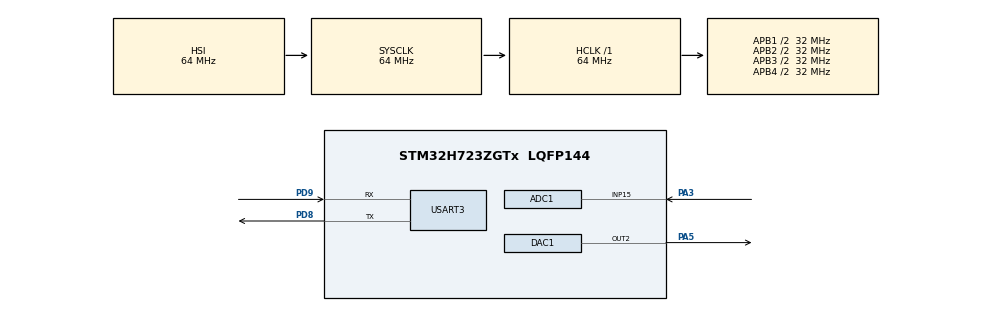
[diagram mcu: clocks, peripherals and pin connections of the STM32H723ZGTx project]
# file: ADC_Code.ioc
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ADC1.Channel-10\#ChannelRegularConversion=ADC_CHANNEL_15
ADC1.ClockPrescaler=ADC_CLOCK_ASYNC_DIV12
ADC1.ContinuousConvMode=ENABLE
ADC1.ConversionDataManagement=ADC_CONVERSIONDATA_DMA_CIRCULAR
ADC1.NbrOfConversionFlag=1
ADC1.OffsetNumber-10\#ChannelRegularConversion=ADC_OFFSET_NONE
ADC1.OffsetSignedSaturation-10\#ChannelRegularConversion=DISABLE
ADC1.Rank-10\#ChannelRegularConversion=1
ADC1.SamplingTime-10\#ChannelRegularConversion=ADC_SAMPLETIME_1CYCLE_5
ADC1.master=1
DAC1.DAC_Channel-DAC_OUT2_ExtAndInt=DAC_CHANNEL_2
Dma.ADC1.0.Direction=DMA_PERIPH_TO_MEMORY
Dma.ADC1.0.EventEnable=DISABLE
Dma.ADC1.0.FIFOMode=DMA_FIFOMODE_DISABLE
Dma.ADC1.0.Instance=DMA1_Stream0
Dma.ADC1.0.MemDataAlignment=DMA_MDATAALIGN_HALFWORD
Dma.ADC1.0.MemInc=DMA_MINC_ENABLE
Dma.ADC1.0.Mode=DMA_CIRCULAR
Dma.ADC1.0.PeriphDataAlignment=DMA_PDATAALIGN_HALFWORD
Dma.ADC1.0.PeriphInc=DMA_PINC_DISABLE
Dma.ADC1.0.Polarity=HAL_DMAMUX_REQ_GEN_RISING
Dma.ADC1.0.Priority=DMA_PRIORITY_LOW
Dma.ADC1.0.RequestNumber=1
Dma.ADC1.0.SignalID=NONE
Dma.ADC1.0.SyncEnable=DISABLE
Dma.ADC1.0.SyncPolarity=HAL_DMAMUX_SYNC_NO_EVENT
Dma.ADC1.0.SyncRequestNumber=1
Dma.ADC1.0.SyncSignalID=NONE
Dma.Request0=ADC1
Mcu.Family=STM32H7
Mcu.Name=STM32H723ZGTx
Mcu.Package=LQFP144
NVIC.DMA1_Stream0_IRQn=true\:0\:0\:false\:false\:true\:false\:true\:true
NVIC.PriorityGroup=NVIC_PRIORITYGROUP_4
NVIC.TIM1_UP_IRQn=true\:15\:0\:false\:false\:true\:false\:true\:true
NVIC.TIM2_IRQn=true\:0\:0\:false\:false\:true\:true\:true\:true
NVIC.TIM3_IRQn=true\:0\:0\:false\:false\:true\:true\:true\:true
NVIC.TimeBase=TIM1_UP_IRQn
NVIC.TimeBaseIP=TIM1
PA13(JTMS/SWDIO).Mode=Trace_Asynchronous_SW
PA13(JTMS/SWDIO).Signal=DEBUG_JTMS-SWDIO
PA14(JTCK/SWCLK).Mode=Trace_Asynchronous_SW
PA14(JTCK/SWCLK).Signal=DEBUG_JTCK-SWCLK
PA3.Signal=ADCx_INP15
PA5.Signal=COMP_DAC12_group
PB3(JTDO/TRACESWO).Mode=Trace_Asynchronous_SW
PB3(JTDO/TRACESWO).Signal=DEBUG_JTDO-SWO
PD8.Mode=Asynchronous
PD8.Signal=USART3_TX
PD9.Mode=Asynchronous
PD9.Signal=USART3_RX
PH0-OSC_IN.Mode=HSE-External-Oscillator
PH0-OSC_IN.Signal=RCC_OSC_IN
PH1-OSC_OUT.Mode=HSE-External-Oscillator
PH1-OSC_OUT.Signal=RCC_OSC_OUT
ProjectManager.HeapSize=0x200
ProjectManager.StackSize=0x400
ProjectManager.TargetToolchain=STM32CubeIDE
RCC.ADCFreq_Value=38400000
RCC.APB1Freq_Value=32000000
RCC.APB2Freq_Value=32000000
RCC.APB3Freq_Value=32000000
RCC.APB4Freq_Value=32000000
RCC.CortexFreq_Value=64000000
RCC.D1PPRE=RCC_APB3_DIV2
RCC.D2PPRE1=RCC_APB1_DIV2
RCC.D2PPRE2=RCC_APB2_DIV2
RCC.D3PPRE=RCC_APB4_DIV2
RCC.DIVM2=4
RCC.DIVN2=12
RCC.DIVP2=5
RCC.HCLKFreq_Value=64000000
RCC.PLL2FRACN=0
RCC.SYSCLKFreq_VALUE=64000000
RCC.USBCLockSelection=RCC_USBCLKSOURCE_HSI48
RCC.USBFreq_Value=48000000
SH.ADCx_INP15.0=ADC1_INP15,IN15-Single-Ended
SH.COMP_DAC12_group.0=DAC1_OUT2,DAC_OUT2_ExtAndInt
TIM2.Period=1920000
TIM2.Prescaler=1000
TIM3.Period=51200
TIM3.Prescaler=1000
USART3.VirtualMode-Asynchronous=VM_ASYNC
VP_SYS_VS_tim1.Mode=TIM1
VP_TIM2_VS_ClockSourceINT.Mode=Internal
VP_TIM3_VS_ClockSourceINT.Mode=Internal
board=custom

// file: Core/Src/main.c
/* USER CODE BEGIN Header */
/**
  ******************************************************************************
  * @file           : main.c
  * @brief          : Main program body
  ******************************************************************************
  * @attention
  *
  * Copyright (c) 2022 STMicroelectronics.
  * All rights reserved.
  *
  * This software is licensed under terms that can be found in the LICENSE file
  * in the root directory of this software component.
  * If no LICENSE file comes with this software, it is provided AS-IS.
  *
  ******************************************************************************
  */
/* USER CODE END Header */
#include "main.h"

/* USER CODE BEGIN Includes */
#include "string.h"
#include "stdlib.h"
#include "stdio.h"
#include "math.h"
#include "time.h"
#include "inttypes.h"
#include "stdbool.h"
/* USER CODE END Includes */

/* USER CODE BEGIN PD */
#define DMA_BUFF_LEN 100
#define DATA_BUFF_LEN 2000
#define txBUFF_LEN 20
#define SECTIONS 10
#define ALPHA 0.00393
#define T1 21
#define HEAT_TIME 0.8 // NEED TO UPDATE
#define FREQ 64000
#define PI 3.14159
#define MAXADC 65536
#define GAIN 51
#define TESTS 3
/* USER CODE END PD */

ADC_HandleTypeDef hadc1;
DMA_HandleTypeDef hdma_adc1;

DAC_HandleTypeDef hdac1;

TIM_HandleTypeDef htim2;
TIM_HandleTypeDef htim3;

UART_HandleTypeDef huart3;

/* USER CODE BEGIN PV */
volatile uint16_t adc_val[DMA_BUFF_LEN];
double avg[TESTS][DATA_BUFF_LEN];
volatile uint32_t temp1, temp2;
double tim[TESTS][DATA_BUFF_LEN];
volatile int data_index = 0;
volatile uint16_t val_dac = 4095*1/3.3;
char txBuff[txBUFF_LEN];
int testNum = 0;
int run = 1;
int sectSize = DATA_BUFF_LEN / SECTIONS; // number of data points in each section
double linSlopes[TESTS];
double thermCond[TESTS];
double avgThermCond=0;
double heatPower = 0.015*0.015*1/0.05; // I2R
double testingSum;
int done = 0;
/* USER CODE END PV */

void SystemClock_Config(void);
static void MX_GPIO_Init(void);
static void MX_DMA_Init(void);
static void MX_ADC1_Init(void);
static void MX_DAC1_Init(void);
static void MX_USART3_UART_Init(void);
static void MX_TIM3_Init(void);
static void MX_TIM2_Init(void);
/* USER CODE BEGIN PFP */
static void runTest(void);
double findTemp(double resistance);
double slope_linear_region(double logTime[], double temp[], int numPoints, int sectSize);
void splitArray(double* array[], int size, int rows, double* result[rows][size]);
void lin_Regression(double x[], double y[], int n, double* result);
double calcThermCond(double heatPower, double slope);
/* USER CODE END PFP */

int main(void)
{

  /* MCU Configuration--------------------------------------------------------*/

  /* Reset of all peripherals, Initializes the Flash interface and the Systick. */
  HAL_Init();

  /* Configure the system clock */
  SystemClock_Config();

  /* USER CODE BEGIN SysInit */
  srand(time(NULL));
  /* USER CODE END SysInit */

  /* Initialize all configured peripherals */
  MX_GPIO_Init();
  MX_DMA_Init();
  MX_ADC1_Init();
  MX_DAC1_Init();
  MX_USART3_UART_Init();
  MX_TIM3_Init();
  MX_TIM2_Init();
  /* USER CODE BEGIN 2 */
  HAL_DAC_Start(&hdac1,DAC_CHANNEL_2);
  HAL_DAC_SetValue(&hdac1, DAC_CHANNEL_2, DAC_ALIGN_12B_R,  4095*0.3/3.3);
  /* USER CODE END 2 */

  /* Infinite loop */
  /* USER CODE BEGIN WHILE */
  while(1)
  {

	  runTest();
    /* USER CODE END WHILE */

  }
}

void SystemClock_Config(void)
{
  RCC_OscInitTypeDef RCC_OscInitStruct = {0};
  RCC_ClkInitTypeDef RCC_ClkInitStruct = {0};

  /** Supply configuration update enable
  */
  HAL_PWREx_ConfigSupply(PWR_LDO_SUPPLY);
  /** Configure the main internal regulator output voltage
  */
  __HAL_PWR_VOLTAGESCALING_CONFIG(PWR_REGULATOR_VOLTAGE_SCALE3);

  while(!__HAL_PWR_GET_FLAG(PWR_FLAG_VOSRDY)) {}
  /** Macro to configure the PLL clock source
  */
  __HAL_RCC_PLL_PLLSOURCE_CONFIG(RCC_PLLSOURCE_HSI);
  /** Initializes the RCC Oscillators according to the specified parameters
  * in the RCC_OscInitTypeDef structure.
  */
  RCC_OscInitStruct.OscillatorType = RCC_OSCILLATORTYPE_HSI;
  RCC_OscInitStruct.HSIState = RCC_HSI_DIV1;
  RCC_OscInitStruct.HSICalibrationValue = RCC_HSICALIBRATION_DEFAULT;
  RCC_OscInitStruct.PLL.PLLState = RCC_PLL_NONE;
  RCC_OscInitStruct.PLL.PLLSource = RCC_PLLSOURCE_HSI;
  if (HAL_RCC_OscConfig(&RCC_OscInitStruct) != HAL_OK)
  {
    Error_Handler();
  }
  /** Initializes the CPU, AHB and APB buses clocks
  */
  RCC_ClkInitStruct.ClockType = RCC_CLOCKTYPE_HCLK|RCC_CLOCKTYPE_SYSCLK
                              |RCC_CLOCKTYPE_PCLK1|RCC_CLOCKTYPE_PCLK2
                              |RCC_CLOCKTYPE_D3PCLK1|RCC_CLOCKTYPE_D1PCLK1;
  RCC_ClkInitStruct.SYSCLKSource = RCC_SYSCLKSOURCE_HSI;
  RCC_ClkInitStruct.SYSCLKDivider = RCC_SYSCLK_DIV1;
  RCC_ClkInitStruct.AHBCLKDivider = RCC_HCLK_DIV1;
  RCC_ClkInitStruct.APB3CLKDivider = RCC_APB3_DIV2;
  RCC_ClkInitStruct.APB1CLKDivider = RCC_APB1_DIV2;
  RCC_ClkInitStruct.APB2CLKDivider = RCC_APB2_DIV2;
  RCC_ClkInitStruct.APB4CLKDivider = RCC_APB4_DIV2;

  if (HAL_RCC_ClockConfig(&RCC_ClkInitStruct, FLASH_LATENCY_1) != HAL_OK)
  {
    Error_Handler();
  }
}

static void MX_ADC1_Init(void)
{

  ADC_MultiModeTypeDef multimode = {0};
  ADC_ChannelConfTypeDef sConfig = {0};

  /** Common config
  */
  hadc1.Instance = ADC1;
  hadc1.Init.ClockPrescaler = ADC_CLOCK_ASYNC_DIV12;
  hadc1.Init.Resolution = ADC_RESOLUTION_16B;
  hadc1.Init.ScanConvMode = ADC_SCAN_DISABLE;
  hadc1.Init.EOCSelection = ADC_EOC_SINGLE_CONV;
  hadc1.Init.LowPowerAutoWait = DISABLE;
  hadc1.Init.ContinuousConvMode = ENABLE;
  hadc1.Init.NbrOfConversion = 1;
  hadc1.Init.DiscontinuousConvMode = DISABLE;
  hadc1.Init.ExternalTrigConv = ADC_SOFTWARE_START;
  hadc1.Init.ExternalTrigConvEdge = ADC_EXTERNALTRIGCONVEDGE_NONE;
  hadc1.Init.ConversionDataManagement = ADC_CONVERSIONDATA_DMA_CIRCULAR;
  hadc1.Init.Overrun = ADC_OVR_DATA_PRESERVED;
  hadc1.Init.LeftBitShift = ADC_LEFTBITSHIFT_NONE;
  hadc1.Init.OversamplingMode = DISABLE;
  if (HAL_ADC_Init(&hadc1) != HAL_OK)
  {
    Error_Handler();
  }
  /** Configure the ADC multi-mode
  */
  multimode.Mode = ADC_MODE_INDEPENDENT;
  if (HAL_ADCEx_MultiModeConfigChannel(&hadc1, &multimode) != HAL_OK)
  {
    Error_Handler();
  }
  /** Configure Regular Channel
  */
  sConfig.Channel = ADC_CHANNEL_15;
  sConfig.Rank = ADC_REGULAR_RANK_1;
  sConfig.SamplingTime = ADC_SAMPLETIME_1CYCLE_5;
  sConfig.SingleDiff = ADC_SINGLE_ENDED;
  sConfig.OffsetNumber = ADC_OFFSET_NONE;
  sConfig.Offset = 0;
  sConfig.OffsetSignedSaturation = DISABLE;
  if (HAL_ADC_ConfigChannel(&hadc1, &sConfig) != HAL_OK)
  {
    Error_Handler();
  }

}

static void MX_DAC1_Init(void)
{

  DAC_ChannelConfTypeDef sConfig = {0};

  /** DAC Initialization
  */
  hdac1.Instance = DAC1;
  if (HAL_DAC_Init(&hdac1) != HAL_OK)
  {
    Error_Handler();
  }
  /** DAC channel OUT2 config
  */
  sConfig.DAC_SampleAndHold = DAC_SAMPLEANDHOLD_DISABLE;
  sConfig.DAC_Trigger = DAC_TRIGGER_NONE;
  sConfig.DAC_OutputBuffer = DAC_OUTPUTBUFFER_ENABLE;
  sConfig.DAC_ConnectOnChipPeripheral = DAC_CHIPCONNECT_ENABLE;
  sConfig.DAC_UserTrimming = DAC_TRIMMING_FACTORY;
  if (HAL_DAC_ConfigChannel(&hdac1, &sConfig, DAC_CHANNEL_2) != HAL_OK)
  {
    Error_Handler();
  }

}

static void MX_TIM2_Init(void)
{

  TIM_ClockConfigTypeDef sClockSourceConfig = {0};
  TIM_MasterConfigTypeDef sMasterConfig = {0};

  /* USER CODE BEGIN TIM2_Init 1 */
  HAL_NVIC_EnableIRQ(TIM2_IRQn);
  /* USER CODE END TIM2_Init 1 */
  htim2.Instance = TIM2;
  htim2.Init.Prescaler = 1000;
  htim2.Init.CounterMode = TIM_COUNTERMODE_UP;
  htim2.Init.Period = 1920000;
  htim2.Init.ClockDivision = TIM_CLOCKDIVISION_DIV1;
  htim2.Init.AutoReloadPreload = TIM_AUTORELOAD_PRELOAD_DISABLE;
  if (HAL_TIM_Base_Init(&htim2) != HAL_OK)
  {
    Error_Handler();
  }
  sClockSourceConfig.ClockSource = TIM_CLOCKSOURCE_INTERNAL;
  if (HAL_TIM_ConfigClockSource(&htim2, &sClockSourceConfig) != HAL_OK)
  {
    Error_Handler();
  }
  sMasterConfig.MasterOutputTrigger = TIM_TRGO_RESET;
  sMasterConfig.MasterSlaveMode = TIM_MASTERSLAVEMODE_DISABLE;
  if (HAL_TIMEx_MasterConfigSynchronization(&htim2, &sMasterConfig) != HAL_OK)
  {
    Error_Handler();
  }

}

static void MX_TIM3_Init(void)
{

  TIM_ClockConfigTypeDef sClockSourceConfig = {0};
  TIM_MasterConfigTypeDef sMasterConfig = {0};

  /* USER CODE BEGIN TIM3_Init 1 */
  HAL_NVIC_EnableIRQ(TIM3_IRQn);

  /* USER CODE END TIM3_Init 1 */
  htim3.Instance = TIM3;
  htim3.Init.Prescaler = 1000;
  htim3.Init.CounterMode = TIM_COUNTERMODE_UP;
  htim3.Init.Period = 51200;
  htim3.Init.ClockDivision = TIM_CLOCKDIVISION_DIV1;
  htim3.Init.AutoReloadPreload = TIM_AUTORELOAD_PRELOAD_DISABLE;
  if (HAL_TIM_Base_Init(&htim3) != HAL_OK)
  {
    Error_Handler();
  }
  sClockSourceConfig.ClockSource = TIM_CLOCKSOURCE_INTERNAL;
  if (HAL_TIM_ConfigClockSource(&htim3, &sClockSourceConfig) != HAL_OK)
  {
    Error_Handler();
  }
  sMasterConfig.MasterOutputTrigger = TIM_TRGO_RESET;
  sMasterConfig.MasterSlaveMode = TIM_MASTERSLAVEMODE_DISABLE;
  if (HAL_TIMEx_MasterConfigSynchronization(&htim3, &sMasterConfig) != HAL_OK)
  {
    Error_Handler();
  }

}

static void MX_USART3_UART_Init(void)
{

  huart3.Instance = USART3;
  huart3.Init.BaudRate = 115200;
  huart3.Init.WordLength = UART_WORDLENGTH_8B;
  huart3.Init.StopBits = UART_STOPBITS_1;
  huart3.Init.Parity = UART_PARITY_NONE;
  huart3.Init.Mode = UART_MODE_TX_RX;
  huart3.Init.HwFlowCtl = UART_HWCONTROL_NONE;
  huart3.Init.OverSampling = UART_OVERSAMPLING_16;
  huart3.Init.OneBitSampling = UART_ONE_BIT_SAMPLE_DISABLE;
  huart3.Init.ClockPrescaler = UART_PRESCALER_DIV1;
  huart3.AdvancedInit.AdvFeatureInit = UART_ADVFEATURE_NO_INIT;
  if (HAL_UART_Init(&huart3) != HAL_OK)
  {
    Error_Handler();
  }
  if (HAL_UARTEx_SetTxFifoThreshold(&huart3, UART_TXFIFO_THRESHOLD_1_8) != HAL_OK)
  {
    Error_Handler();
  }
  if (HAL_UARTEx_SetRxFifoThreshold(&huart3, UART_RXFIFO_THRESHOLD_1_8) != HAL_OK)
  {
    Error_Handler();
  }
  if (HAL_UARTEx_DisableFifoMode(&huart3) != HAL_OK)
  {
    Error_Handler();
  }

}

static void MX_DMA_Init(void)
{

  /* DMA controller clock enable */
  __HAL_RCC_DMA1_CLK_ENABLE();

  /* DMA interrupt init */
  /* DMA1_Stream0_IRQn interrupt configuration */
  HAL_NVIC_SetPriority(DMA1_Stream0_IRQn, 0, 0);
  HAL_NVIC_EnableIRQ(DMA1_Stream0_IRQn);

}

static void MX_GPIO_Init(void)
{

  /* GPIO Ports Clock Enable */
  __HAL_RCC_GPIOH_CLK_ENABLE();
  __HAL_RCC_GPIOA_CLK_ENABLE();
  __HAL_RCC_GPIOD_CLK_ENABLE();
  __HAL_RCC_GPIOB_CLK_ENABLE();

}

/* USER CODE BEGIN 4 */

void runTest()
{
	while(done == 0)
	{
		if (run == 1)
		{
		//HAL_Delay(10);
		  HAL_DAC_SetValue(&hdac1, DAC_CHANNEL_2, DAC_ALIGN_12B_R, val_dac);
		  HAL_Delay(1);
		  HAL_ADC_Start_DMA(&hadc1, (uint32_t*)adc_val, DMA_BUFF_LEN);
		  HAL_TIM_Base_Start_IT(&htim3);
		  run = 0;
		}
		//HAL_Delay(30800);

	}

	if(done == 1)
	{

		//For each test
		for(int i=0; i < TESTS ; i++)
		{
		//For each point in that test
			for(int point = 0; point<DATA_BUFF_LEN; point++)
			{
				//Current value for resistance calculation
				double current = 0.015;// 15mA
				if(tim[i][point] > 0.8)
				{
					current = 0.005; // 5mA
				}
				//Resistance, then Celcius, replace with itself
				avg[i][point] = ((avg[i][point]/(current*GAIN))+ T1*ALPHA - 1)/ALPHA; //covert to resistance then deg c
			}
		}

		//For each test
		for(int j = 0; j< TESTS ; j++)
		{
			//Find the slope
			linSlopes[j] = slope_linear_region(tim[j], avg[j], DATA_BUFF_LEN, sectSize);
			//Get the themal conductivity
			thermCond[j] = calcThermCond(heatPower, linSlopes[j]);
			//Get the average
			avgThermCond += thermCond[j];
			//testingSum = avgThermCond;
		}
		//Sum and divide
		avgThermCond = avgThermCond/TESTS;
		//Turn off DAC
		HAL_DAC_SetValue(&hdac1, DAC_CHANNEL_2, DAC_ALIGN_12B_R, 0);

		return;
	}
	 /* if(data_index >= DATA_BUFF_LEN){
			  for (int i = 0;i<DATA_BUFF_LEN;i++){
				  sprintf(txBuff,"%d, ",avg[i]);
				  //if(HAL_UART_Transmit(&huart3,(uint8_t*)txBuff, txBUFF_LEN,HAL_MAX_DELAY) != HAL_OK)
					//  Error_Handler();
				  HAL_UART_Transmit(&huart3,(uint8_t*)txBuff, sizeof(txBuff),HAL_MAX_DELAY);
				  HAL_Delay(1);
			  }
			  data_index = 0;
		   }*/

	 	 //HAL_DAC_SetValue(&hdac1, DAC_CHANNEL_2, DAC_ALIGN_12B_R, val_dac);
		  //HAL_ADC_Start_DMA(&hadc1, (uint32_t*)adc_val, DMA_BUFF_LEN);
}

double findTemp(double resistance)
{
	return (resistance + T1*ALPHA - 1)/ALPHA;
}

double slope_linear_region(double logTime[], double temp[], int numPoints, int sectSize)
{
	double timeMatrix[SECTIONS][sectSize];
	double tempMatrix[SECTIONS][sectSize];
	double maxR2, linSlope, tempR2;

	splitArray(logTime, sectSize, SECTIONS, timeMatrix);
	splitArray(temp, sectSize, SECTIONS, tempMatrix);

	// initialize two arrays to store slopes and R2 values for each 10% increment section of data
	double slopes[SECTIONS];
	double r2Values[SECTIONS];

	double linRegResults[2];

	int i;
	for(i=0; i<SECTIONS; i++)
	{
	   lin_Regression(timeMatrix[i], tempMatrix[i],sectSize, linRegResults); // may have to use &timeMatrix[i] if this doesnt work
	   slopes[i] = linRegResults[0];
	   r2Values[i] = linRegResults[1];
	}

	maxR2 =0;

	//do
	//{
			//tempR2 = maxR2;

	linSlope = 0;

			for(i=0; i<SECTIONS; i++)
			{
				if(r2Values[i] > maxR2 && slopes[i] >0)
				{
					maxR2 = r2Values[i];
					linSlope = slopes[i];
				}
			}
	//}
	//while(linSlope<0);//repeat until slope in non-negative

	return linSlope;

}//end of slope_lin_Slope function

/* splitArray is a function that allows you to input an array, and matrix dimensions desired to generate
a matrix from the given array.
ex: array = {1, 2, 3, 4, 5, 6, 7, 8}
    size = 4
    rows = sizeOf array / size = 8/2 = 4

    Matrix = {
        {1, 2, 3, 4},
        {5, 6, 7, 8}
              }
*/
void splitArray(double* array[], int size, int rows, double* result[rows][size])
{

	int k=0;
	int i, j;

	for(i=0; i<rows; i++)
	{
		for(j=0; j<size; j++)
		{
			result[i][j] = array[k];

			k++;
		}
	}
}// end of splitArray Function

/* lin_Regression function takes the x and y data values and dertermines the a and b coefficients for y=a+bx linear regression
where b = slope, along with R2 value.

Returns results [2] = [b, R2]
*/

void lin_Regression(double x[], double y[], int n, double* result)
{
	double a, b, R2, ypred, ydiff, ydiff2, var, var2, yAvg;

	double sumx = 0;
	double sumy = 0;
	double sumx2 = 0;
	double sumy2 =0;
	double sumxy = 0;
	double sumyDiff2 = 0;
	double totalVar = 0;
	int i;

	for(i=0; i<n ; i++)
	{
		sumx = sumx + log(x[i]);
		sumy = sumy + y[i];
		sumx2 = sumx2 + log(x[i])*x[i];
		sumy2 = sumy2 + y[i]*y[i];
		sumxy = sumxy + log(x[i])*y[i];
	}

	a = ((sumy*sumx2) - (sumx*sumxy)) / ((n*sumx2) - (sumx*sumx)); // y-intercept

	b = ((n*sumxy) - (sumx*sumy)) / ((n*sumx2) - (sumx*sumx)); // slope

	for(i=0; i<n; i++)
	{
		ypred = a + b*x[i];

		ydiff = y[i] - ypred;

		ydiff2 = ydiff*ydiff;

		yAvg = sumy / n;

		var = y[i] - yAvg;

		var2 = var*var;

		sumyDiff2 = sumyDiff2 + ydiff2;

		totalVar = totalVar + var2;
	  }

	R2 = 1 - (sumyDiff2/totalVar);

	result[0] = b;
	result[1] = R2;

}//end of lin_regression funtcion

double calcThermCond(double heatPower, double slope)
{
	return (heatPower / (4*PI*slope));
}

// Called when buffer is completely filled
void HAL_ADC_ConvCpltCallback(ADC_HandleTypeDef* hadc1)
{
	temp1 = __HAL_TIM_GET_COUNTER(&htim3);
	temp2 = __HAL_TIM_GET_COUNTER(&htim2);
	if(temp2 == 0 && temp1 != 0){
		tim[testNum][data_index] = (((double)temp1/51200)*0.8); //+ ((double)temp2/1920000)*30);
	}
	else{
		tim[testNum][data_index] = (((double)temp2/1920000)*30+0.8);
	}

	//tim[testNum-1][data_index] = __HAL_TIM_GET_COUNTER(&htim3) + __HAL_TIM_GET_COUNTER(&htim2);

	//getting average of adc buffer
	for(int i = 0;i<DMA_BUFF_LEN;i++){
		//testingSum = ((double)adc_val[i]/MAXADC) *3.3;
		avg[testNum][data_index] += ((double)adc_val[i]/MAXADC) *3.3;
	}

	if(data_index < DATA_BUFF_LEN){
		avg[testNum][data_index] = avg[testNum][data_index]/ DMA_BUFF_LEN;
		data_index++;
	}

	 HAL_ADC_Start_DMA(hadc1, (uint32_t*)adc_val, DMA_BUFF_LEN);
}
/* USER CODE END 4 */

void HAL_TIM_PeriodElapsedCallback(TIM_HandleTypeDef *htim)
{
  /* USER CODE BEGIN Callback 0 */
	 if (htim->Instance == TIM1)
	 {
	    HAL_IncTick();
	  }

	if(testNum <TESTS)
	{
  /* USER CODE END Callback 0 */

  /* USER CODE BEGIN Callback 1 */
		  if (htim->Instance == TIM3)
		  {
			  if(avg[0][0] != 0)
			  {
				  HAL_TIM_Base_Stop_IT(&htim3);
				  HAL_DAC_SetValue(&hdac1, DAC_CHANNEL_2, DAC_ALIGN_12B_R, 4095*0.3/3.3);
				  HAL_TIM_Base_Start_IT(&htim2);
			  }
		  }
		 if (htim->Instance == TIM2)
		 {
			if(avg[0][0] != 0)
			{
				HAL_TIM_Base_Stop_IT(&htim2);
				testNum++;
				run = 1;
				data_index = 0;

				if(testNum == TESTS)
				{
					done = 1;
					HAL_ADC_Stop_DMA(&hadc1);
					HAL_TIM_Base_Stop_IT(&htim3);
					HAL_TIM_Base_Stop_IT(&htim2);
				}
				else
				{
					HAL_DAC_SetValue(&hdac1, DAC_CHANNEL_2, DAC_ALIGN_12B_R, 4095*1/3.3);
					HAL_TIM_Base_Start_IT(&htim3);
			    }
			}
		}
	}
/*
	else
	{
		HAL_TIM_Base_Stop_IT(&htim2);
		HAL_TIM_Base_Stop_IT(&htim3);
		HAL_DAC_SetValue(&hdac1, DAC_CHANNEL_2, DAC_ALIGN_12B_R,  4095*0.3/3.3);
	}
	*/

  /* USER CODE END Callback 1 */
}

void Error_Handler(void)
{
  __disable_irq();
  while (1)
  {
  }
}
